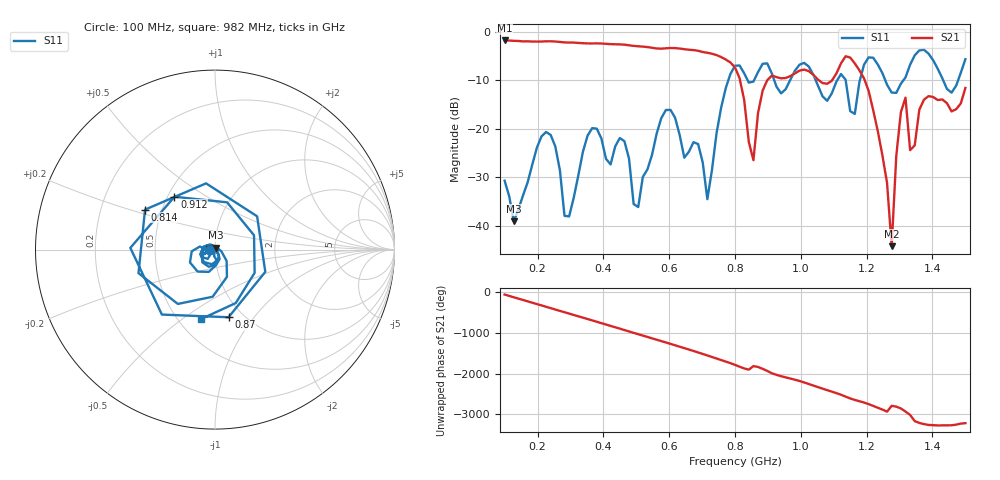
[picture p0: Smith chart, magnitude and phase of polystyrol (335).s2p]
! NanoVNA-App
! Date: 2025-09-25 15:32:30
! Start: 100MHz Stop: 1,5GHz Points: 101
! S-Parameter data: F S11 S21 S12 S22
# Hz S RI R 50
!  Frequency  S11_Real  S11_Imag  S21_Real  S21_Imag  S12_Real  S12_Imag  S22_Real  S22_Imag
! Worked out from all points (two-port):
!   101 points, 100 MHz to 1.5 GHz, reference 50 ohm
!   highest |S21| = -1.80 dB at 100 MHz (marker M1); lowest = -44.2 dB at 1.276 GHz (marker M2)
!   |S21| within 3 dB of the highest: start of sweep to 743.1 MHz
!   lowest |S11| = -39.1 dB at 128 MHz (marker M3), VSWR 1.02, Z = 50.3 + j1.06 ohm
!   |S11| at or under -10 dB: start of sweep to 779.8 MHz; 1.045 GHz to 1.111 GHz (65.44 MHz wide, 6.07 % of centre); 1.257 GHz to 1.312 GHz (55.15 MHz wide, 4.29 % of centre) (the widest 3 of 7)
!   S12 and S22 are empty: the file has one direction only
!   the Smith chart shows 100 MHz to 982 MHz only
!   S11 on the Smith chart (normalised r, x): 100 MHz: 0.94, -0.01; 814 MHz: 0.40, +0.22; 870 MHz: 0.85, -0.76; 912 MHz: 0.54, +0.37; 982 MHz: 0.64, -0.59
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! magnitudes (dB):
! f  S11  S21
! 100 MHz  -30.7  -1.8
! 128 MHz  -39.1  -1.9
! 212 MHz  -21.6  -2.0
! 282 MHz  -37.9  -2.2
! 338 MHz  -24.7  -2.4
! 464 MHz  -22.6  -2.7
! 506 MHz  -36.1  -3.0
! 576 MHz  -17.8  -3.5
! 716 MHz  -34.5  -4.3
! 800 MHz  -7.0  -7.4
! 814 MHz  -7.0  -9.6
! 856 MHz  -10.3  -26.5
! 870 MHz  -8.3  -16.7
! 912 MHz  -8.6  -9.0
! 982 MHz  -8.0  -8.6
! 1.038 GHz  -8.8  -8.9
! 1.164 GHz  -16.9  -6.5
! 1.192 GHz  -6.8  -9.6
! 1.276 GHz  -12.5  -44.2
! 1.318 GHz  -9.4  -13.6
! 1.332 GHz  -6.8  -24.4
! 1.5 GHz  -5.7  -11.6
